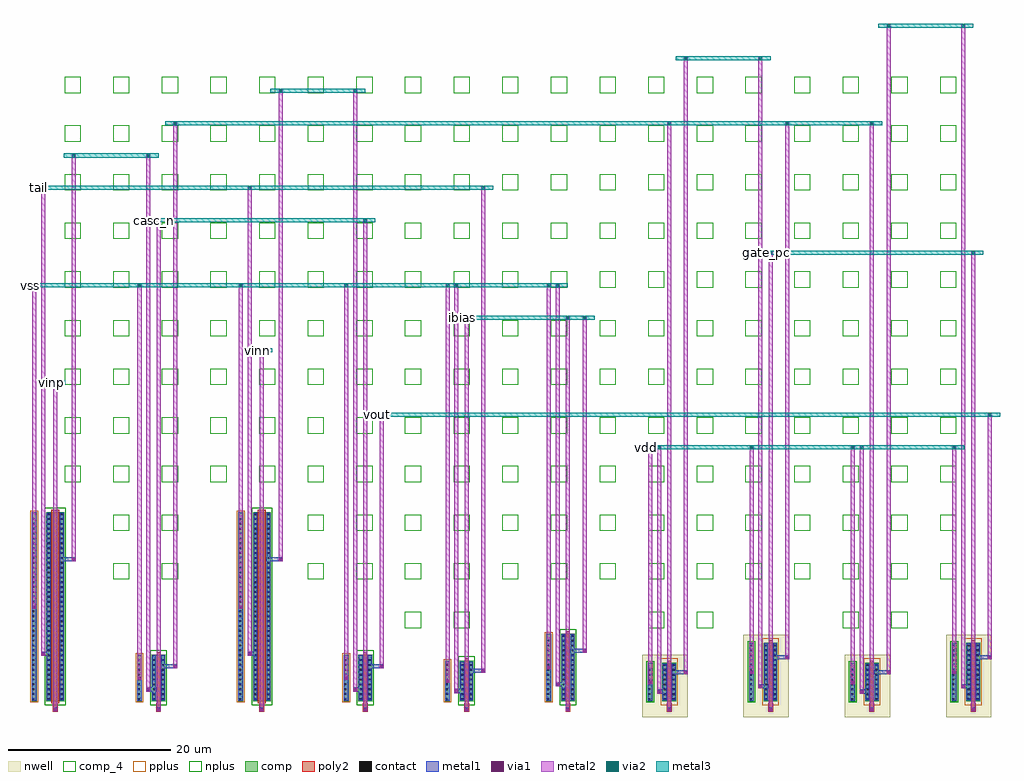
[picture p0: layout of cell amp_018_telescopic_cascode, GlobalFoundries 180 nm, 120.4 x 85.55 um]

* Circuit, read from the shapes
.subckt amp_018_telescopic_cascode casc_n gate_pc ibias tail vdd vinn vinp vout vss
XM1 n1 vinp tail vss nfet_03v3 w=23.3u l=1u
XM2 n2 casc_n n1 vss nfet_03v3 w=5.7u l=0.5u
XM3 n3 vinn tail vss nfet_03v3 w=23.3u l=1u
XM4 vout casc_n n3 vss nfet_03v3 w=5.7u l=0.5u
XM5 tail ibias vss vss nfet_03v3 w=4.95u l=0.5u
XM6 ibias ibias vss vss nfet_03v3 w=8.3u l=0.5u
XM7 n4 n2 vdd vdd pfet_03v3 w=4.7u l=0.5u
XM8 n2 gate_pc n4 vdd pfet_03v3 w=7.2u l=0.5u
XM9 n5 n2 vdd vdd pfet_03v3 w=4.7u l=0.5u
XM10 vout gate_pc n5 vdd pfet_03v3 w=7.2u l=0.5u
.ends

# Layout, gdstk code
import gdstk
lib = gdstk.Library(unit=1e-6, precision=1e-09)
def R(c, l, rs):  # rectangles x0, y0, x1, y1
    for r in rs: c.add(gdstk.rectangle(r[:2], r[2:], *l))
def A(c, l, x, y, w, h, nx, ny, dx, dy):  # array of equal rectangles
    R(c, l, [(x+i*dx, y+j*dy, x+i*dx+w, y+j*dy+h) for i in range(nx) for j in range(ny)])
nwell = (21, 0)
comp = (22, 0)
comp_4 = (22, 4)
poly2 = (30, 0)
pplus = (31, 0)
nplus = (32, 0)
contact = (33, 0)
metal1 = (34, 0)
via1 = (35, 0)
metal2 = (36, 0)
via2 = (38, 0)
metal3 = (42, 0)

amp_018_telescopic_casco = lib.new_cell('amp_018_telescopic_cascode')
R(amp_018_telescopic_casco, nwell, [(73.5,-2,79.1,5.7), (86,-2,91.6,8.2), (98.5,-2,104.1,5.7), (111,-2,116.6,8.2)])
R(amp_018_telescopic_casco, comp, [(-1.8,0,-1.2,23.3), (0,0,2.2,23.3), (11.2,0,11.8,5.7), (13,0,14.7,5.7), (23.7,0,24.3,23.3), (25.5,0,27.7,23.3), (36.7,0,37.3,5.7), (38.5,0,40.2,5.7), (49.2,0,49.8,4.95), (51,0,52.7,4.95), (61.7,0,62.3,8.3), (63.5,0,65.2,8.3), (74.2,0,74.8,4.7), (76,0,77.7,4.7), (86.7,0,87.3,7.2), (88.5,0,90.2,7.2), (99.2,0,99.8,4.7), (101,0,102.7,4.7), (111.7,0,112.3,7.2), (113.5,0,115.2,7.2)])
A(amp_018_telescopic_casco, comp_4, 32.25, 15, 2, 2, 14, 2, 6, 6)
A(amp_018_telescopic_casco, comp_4, 2.25, 27, 2, 2, 19, 9, 6, 6)
R(amp_018_telescopic_casco, comp_4, [(44.25,9,46.25,11), (50.25,9,52.25,11), (74.25,9,76.25,11), (80.25,9,82.25,11), (98.25,9,100.25,11), (104.25,9,106.25,11), (8.25,15,10.25,17), (14.25,15,16.25,17), (8.25,21,10.25,23), (14.25,21,16.25,23)])
A(amp_018_telescopic_casco, poly2, 0.8, -1.3, 0.6, 1.05, 4, 1, 12.75, 0)
A(amp_018_telescopic_casco, poly2, 51.55, -1.3, 0.6, 1.05, 6, 1, 12.5, 0)
R(amp_018_telescopic_casco, poly2, [(0.6,-0.3,1.6,23.6), (13.6,-0.3,14.1,6), (26.1,-0.3,27.1,23.6), (39.1,-0.3,39.6,6), (51.6,-0.3,52.1,5.25), (64.1,-0.3,64.6,8.6), (76.6,-0.3,77.1,5), (89.1,-0.3,89.6,7.5), (101.6,-0.3,102.1,5), (114.1,-0.3,114.6,7.5)])
R(amp_018_telescopic_casco, pplus, [(75.82,-0.55,77.88,5.25), (88.32,-0.55,90.38,7.75), (100.82,-0.55,102.88,5.25), (113.32,-0.55,115.38,7.75), (-1.98,-0.18,-1.02,23.48), (11.02,-0.18,11.98,5.88), (23.52,-0.18,24.48,23.48), (36.52,-0.18,37.48,5.88), (49.02,-0.18,49.98,5.13), (61.52,-0.18,62.48,8.48)])
R(amp_018_telescopic_casco, nplus, [(-0.18,-0.55,2.38,23.85), (12.82,-0.55,14.88,6.25), (25.32,-0.55,27.88,23.85), (38.32,-0.55,40.38,6.25), (50.82,-0.55,52.88,5.5), (63.32,-0.55,65.38,8.85), (74.02,-0.18,74.98,4.88), (86.52,-0.18,87.48,7.38), (99.02,-0.18,99.98,4.88), (111.52,-0.18,112.48,7.38)])
A(amp_018_telescopic_casco, contact, 0.99, -1.11, 0.22, 0.22, 4, 1, 12.75, 0)
A(amp_018_telescopic_casco, contact, 51.74, -1.11, 0.22, 0.22, 6, 1, 12.5, 0)
A(amp_018_telescopic_casco, contact, 0.19, 0.14, 0.22, 0.22, 1, 39, 0, 0.6)
A(amp_018_telescopic_casco, contact, 1.79, 0.14, 0.22, 0.22, 1, 39, 0, 0.6)
A(amp_018_telescopic_casco, contact, 13.19, 0.14, 0.22, 0.22, 1, 9, 0, 0.6)
A(amp_018_telescopic_casco, contact, 14.29, 0.14, 0.22, 0.22, 1, 9, 0, 0.6)
A(amp_018_telescopic_casco, contact, 25.69, 0.14, 0.22, 0.22, 1, 39, 0, 0.6)
A(amp_018_telescopic_casco, contact, 27.29, 0.14, 0.22, 0.22, 1, 39, 0, 0.6)
A(amp_018_telescopic_casco, contact, 38.69, 0.14, 0.22, 0.22, 1, 9, 0, 0.6)
A(amp_018_telescopic_casco, contact, 39.79, 0.14, 0.22, 0.22, 1, 9, 0, 0.6)
A(amp_018_telescopic_casco, contact, 51.19, 0.14, 0.22, 0.22, 1, 8, 0, 0.6)
A(amp_018_telescopic_casco, contact, 52.29, 0.14, 0.22, 0.22, 1, 8, 0, 0.6)
A(amp_018_telescopic_casco, contact, 63.69, 0.14, 0.22, 0.22, 1, 14, 0, 0.6)
A(amp_018_telescopic_casco, contact, 64.79, 0.14, 0.22, 0.22, 1, 14, 0, 0.6)
A(amp_018_telescopic_casco, contact, 76.19, 0.14, 0.22, 0.22, 1, 8, 0, 0.6)
A(amp_018_telescopic_casco, contact, 77.29, 0.14, 0.22, 0.22, 1, 8, 0, 0.6)
A(amp_018_telescopic_casco, contact, 88.69, 0.14, 0.22, 0.22, 1, 12, 0, 0.6)
A(amp_018_telescopic_casco, contact, 89.79, 0.14, 0.22, 0.22, 1, 12, 0, 0.6)
A(amp_018_telescopic_casco, contact, 101.19, 0.14, 0.22, 0.22, 1, 8, 0, 0.6)
A(amp_018_telescopic_casco, contact, 102.29, 0.14, 0.22, 0.22, 1, 8, 0, 0.6)
A(amp_018_telescopic_casco, contact, 113.69, 0.14, 0.22, 0.22, 1, 12, 0, 0.6)
A(amp_018_telescopic_casco, contact, 114.79, 0.14, 0.22, 0.22, 1, 12, 0, 0.6)
A(amp_018_telescopic_casco, contact, -1.69, 0.15, 0.22, 0.22, 1, 38, 0, 0.6)
A(amp_018_telescopic_casco, contact, 11.31, 0.15, 0.22, 0.22, 1, 9, 0, 0.6)
A(amp_018_telescopic_casco, contact, 23.81, 0.15, 0.22, 0.22, 1, 38, 0, 0.6)
A(amp_018_telescopic_casco, contact, 36.81, 0.15, 0.22, 0.22, 7, 7, 12.5, 0.6)
A(amp_018_telescopic_casco, contact, 36.81, 4.35, 0.22, 0.22, 3, 1, 12.5, 0)
A(amp_018_telescopic_casco, contact, 36.81, 4.95, 0.22, 0.22, 4, 1, 25, 0)
A(amp_018_telescopic_casco, contact, 61.81, 5.55, 0.22, 0.22, 3, 3, 25, 0.6)
R(amp_018_telescopic_casco, contact, [(86.81,4.35,87.03,4.57), (111.81,4.35,112.03,4.57), (61.81,7.35,62.03,7.57)])
R(amp_018_telescopic_casco, metal1, [(0.85,-1.25,1.35,-0.75), (0.85,-1.25,1.35,-0.75), (13.6,-1.25,14.1,-0.75), (13.6,-1.25,14.1,-0.75), (26.35,-1.25,26.85,-0.75), (26.35,-1.25,26.85,-0.75), (39.1,-1.25,39.6,-0.75), (39.1,-1.25,39.6,-0.75), (51.6,-1.25,52.1,-0.75), (51.6,-1.25,52.1,-0.75), (64.1,-1.25,64.6,-0.75), (64.1,-1.25,64.6,-0.75), (76.6,-1.25,77.1,-0.75), (76.6,-1.25,77.1,-0.75), (89.1,-1.25,89.6,-0.75), (89.1,-1.25,89.6,-0.75), (101.6,-1.25,102.1,-0.75), (101.6,-1.25,102.1,-0.75), (114.1,-1.25,114.6,-0.75), (114.1,-1.25,114.6,-0.75), (-1.75,0.05,-1.25,23.25), (11.25,0.05,11.75,5.65), (23.75,0.05,24.25,23.25), (36.75,0.05,37.25,5.65), (49.25,0.05,49.75,4.9), (61.75,0.05,62.25,8.25), (74.25,0.05,74.75,4.65), (86.75,0.05,87.25,7.15), (99.25,0.05,99.75,4.65), (111.75,0.05,112.25,7.15), (0.07,0.08,0.53,23.22), (1.67,0.08,2.13,23.22), (13.07,0.08,13.53,5.62), (14.17,0.08,14.63,5.62), (25.57,0.08,26.03,23.22), (27.17,0.08,27.63,23.22), (38.57,0.08,39.03,5.62), (39.67,0.08,40.13,5.62), (51.07,0.08,51.53,4.87), (52.17,0.08,52.63,4.87), (63.57,0.08,64.03,8.22), (64.67,0.08,65.13,8.22), (76.07,0.08,76.53,4.62), (77.17,0.08,77.63,4.62), (88.57,0.08,89.03,7.12), (89.67,0.08,90.13,7.12), (101.07,0.08,101.53,4.62), (102.17,0.08,102.63,4.62), (113.57,0.08,114.03,7.12), (114.67,0.08,115.13,7.12), (-1.81,0.09,-1.35,23.21), (11.19,0.09,11.65,5.61), (23.69,0.09,24.15,23.21), (36.69,0.09,37.15,5.61), (49.19,0.09,49.65,4.86), (61.69,0.09,62.15,8.21), (74.19,0.09,74.65,4.61), (86.69,0.09,87.15,7.11), (99.19,0.09,99.65,4.61), (111.69,0.09,112.15,7.11), (75.35,0.925,75.85,1.425), (100.35,0.925,100.85,1.425), (50.35,0.99,50.85,1.49), (12.35,1.175,12.85,1.675), (37.85,1.175,38.35,1.675), (87.85,1.55,88.35,2.05), (112.85,1.55,113.35,2.05), (62.85,1.825,63.35,2.325), (74.25,2.1,74.75,2.6), (99.25,2.1,99.75,2.6), (49.25,2.225,49.75,2.725), (11.25,2.6,11.75,3.1), (36.75,2.6,37.25,3.1), (78.65,3.275,79.15,3.775), (103.65,3.275,104.15,3.775), (86.75,3.35,87.25,3.85), (111.75,3.35,112.25,3.85), (53.65,3.46,54.15,3.96), (61.75,3.9,62.25,4.4), (15.65,4.025,16.15,4.525), (41.15,4.025,41.65,4.525), (91.15,5.15,91.65,5.65), (116.15,5.15,116.65,5.65), (-0.65,5.575,-0.15,6.075), (24.85,5.575,25.35,6.075), (66.15,5.975,66.65,6.475), (-1.75,11.4,-1.25,11.9), (23.75,11.4,24.25,11.9), (3.15,17.225,3.65,17.725), (28.65,17.225,29.15,17.725)])
A(amp_018_telescopic_casco, via1, 0.97, -1.13, 0.26, 0.26, 4, 1, 12.75, 0)
A(amp_018_telescopic_casco, via1, 51.72, -1.13, 0.26, 0.26, 6, 1, 12.5, 0)
R(amp_018_telescopic_casco, via1, [(75.47,1.045,75.73,1.305), (100.47,1.045,100.73,1.305), (50.47,1.11,50.73,1.37), (12.47,1.295,12.73,1.555), (37.97,1.295,38.23,1.555), (87.97,1.67,88.23,1.93), (112.97,1.67,113.23,1.93), (62.97,1.945,63.23,2.205), (74.37,2.22,74.63,2.48), (99.37,2.22,99.63,2.48), (49.37,2.345,49.63,2.605), (11.37,2.72,11.63,2.98), (36.87,2.72,37.13,2.98), (78.77,3.395,79.03,3.655), (103.77,3.395,104.03,3.655), (86.87,3.47,87.13,3.73), (111.87,3.47,112.13,3.73), (53.77,3.58,54.03,3.84), (61.87,4.02,62.13,4.28), (15.77,4.145,16.03,4.405), (41.27,4.145,41.53,4.405), (91.27,5.27,91.53,5.53), (116.27,5.27,116.53,5.53), (-0.53,5.695,-0.27,5.955), (24.97,5.695,25.23,5.955), (66.27,6.095,66.53,6.355), (-1.63,11.52,-1.37,11.78), (23.87,11.52,24.13,11.78), (3.27,17.345,3.53,17.605), (28.77,17.345,29.03,17.605)])
A(amp_018_telescopic_casco, metal2, 0.85, -1.25, 0.5, 0.5, 4, 1, 12.75, 0)
A(amp_018_telescopic_casco, metal2, 51.6, -1.25, 0.5, 0.5, 6, 1, 12.5, 0)
R(amp_018_telescopic_casco, metal2, [(75.35,0.925,75.85,1.425), (100.35,0.925,100.85,1.425), (50.35,0.99,50.85,1.49), (12.35,1.175,12.85,1.675), (37.85,1.175,38.35,1.675), (87.85,1.55,88.35,2.05), (112.85,1.55,113.35,2.05), (62.85,1.825,63.35,2.325), (74.25,2.1,74.75,2.6), (99.25,2.1,99.75,2.6), (49.25,2.225,49.75,2.725), (11.25,2.6,11.75,3.1), (36.75,2.6,37.25,3.1), (78.65,3.275,79.15,3.775), (103.65,3.275,104.15,3.775), (86.75,3.35,87.25,3.85), (111.75,3.35,112.25,3.85), (53.65,3.46,54.15,3.96), (61.75,3.9,62.25,4.4), (15.65,4.025,16.15,4.525), (41.15,4.025,41.65,4.525), (91.15,5.15,91.65,5.65), (116.15,5.15,116.65,5.65), (-0.65,5.575,-0.15,6.075), (24.85,5.575,25.35,6.075), (66.15,5.975,66.65,6.475), (-1.75,11.4,-1.25,11.9), (23.75,11.4,24.25,11.9), (3.15,17.225,3.65,17.725), (28.65,17.225,29.15,17.725), (74.25,31.05,74.75,31.55), (75.35,31.05,75.85,31.55), (86.75,31.05,87.25,31.55), (99.25,31.05,99.75,31.55), (100.35,31.05,100.85,31.55), (111.75,31.05,112.25,31.55), (41.15,35.05,41.65,35.55), (116.15,35.05,116.65,35.55), (0.85,39.05,1.35,39.55), (26.35,43.05,26.85,43.55), (51.6,47.05,52.1,47.55), (64.1,47.05,64.6,47.55), (66.15,47.05,66.65,47.55), (-1.75,51.05,-1.25,51.55), (11.25,51.05,11.75,51.55), (23.75,51.05,24.25,51.55), (36.75,51.05,37.25,51.55), (49.25,51.05,49.75,51.55), (50.35,51.05,50.85,51.55), (61.75,51.05,62.25,51.55), (62.85,51.05,63.35,51.55), (89.1,55.05,89.6,55.55), (114.1,55.05,114.6,55.55), (13.6,59.05,14.1,59.55), (39.1,59.05,39.6,59.55), (-0.65,63.05,-0.15,63.55), (24.85,63.05,25.35,63.55), (53.65,63.05,54.15,63.55), (3.15,67.05,3.65,67.55), (12.35,67.05,12.85,67.55), (15.65,71.05,16.15,71.55), (76.6,71.05,77.1,71.55), (91.15,71.05,91.65,71.55), (101.6,71.05,102.1,71.55), (28.65,75.05,29.15,75.55), (37.85,75.05,38.35,75.55), (78.65,79.05,79.15,79.55), (87.85,79.05,88.35,79.55), (103.65,83.05,104.15,83.55), (112.85,83.05,113.35,83.55)])
R(amp_018_telescopic_casco, via2, [(74.37,31.17,74.63,31.43), (75.47,31.17,75.73,31.43), (86.87,31.17,87.13,31.43), (99.37,31.17,99.63,31.43), (100.47,31.17,100.73,31.43), (111.87,31.17,112.13,31.43), (41.27,35.17,41.53,35.43), (116.27,35.17,116.53,35.43), (0.97,39.17,1.23,39.43), (26.47,43.17,26.73,43.43), (51.72,47.17,51.98,47.43), (64.22,47.17,64.48,47.43), (66.27,47.17,66.53,47.43), (-1.63,51.17,-1.37,51.43), (11.37,51.17,11.63,51.43), (23.87,51.17,24.13,51.43), (36.87,51.17,37.13,51.43), (49.37,51.17,49.63,51.43), (50.47,51.17,50.73,51.43), (61.87,51.17,62.13,51.43), (62.97,51.17,63.23,51.43), (89.22,55.17,89.48,55.43), (114.22,55.17,114.48,55.43), (13.72,59.17,13.98,59.43), (39.22,59.17,39.48,59.43), (-0.53,63.17,-0.27,63.43), (24.97,63.17,25.23,63.43), (53.77,63.17,54.03,63.43), (3.27,67.17,3.53,67.43), (12.47,67.17,12.73,67.43), (15.77,71.17,16.03,71.43), (76.72,71.17,76.98,71.43), (91.27,71.17,91.53,71.43), (101.72,71.17,101.98,71.43), (28.77,75.17,29.03,75.43), (37.97,75.17,38.23,75.43), (78.77,79.17,79.03,79.43), (87.97,79.17,88.23,79.43), (103.77,83.17,104.03,83.43), (112.97,83.17,113.23,83.43)])
R(amp_018_telescopic_casco, metal3, [(74.25,31.05,74.75,31.55), (75.35,31.05,75.85,31.55), (86.75,31.05,87.25,31.55), (99.25,31.05,99.75,31.55), (100.35,31.05,100.85,31.55), (111.75,31.05,112.25,31.55), (41.15,35.05,41.65,35.55), (116.15,35.05,116.65,35.55), (0.85,39.05,1.35,39.55), (26.35,43.05,26.85,43.55), (51.6,47.05,52.1,47.55), (64.1,47.05,64.6,47.55), (66.15,47.05,66.65,47.55), (-1.75,51.05,-1.25,51.55), (11.25,51.05,11.75,51.55), (23.75,51.05,24.25,51.55), (36.75,51.05,37.25,51.55), (49.25,51.05,49.75,51.55), (50.35,51.05,50.85,51.55), (61.75,51.05,62.25,51.55), (62.85,51.05,63.35,51.55), (89.1,55.05,89.6,55.55), (114.1,55.05,114.6,55.55), (13.6,59.05,14.1,59.55), (39.1,59.05,39.6,59.55), (-0.65,63.05,-0.15,63.55), (24.85,63.05,25.35,63.55), (53.65,63.05,54.15,63.55), (3.15,67.05,3.65,67.55), (12.35,67.05,12.85,67.55), (15.65,71.05,16.15,71.55), (76.6,71.05,77.1,71.55), (91.15,71.05,91.65,71.55), (101.6,71.05,102.1,71.55), (28.65,75.05,29.15,75.55), (37.85,75.05,38.35,75.55), (78.65,79.05,79.15,79.55), (87.85,79.05,88.35,79.55), (103.65,83.05,104.15,83.55), (112.85,83.05,113.35,83.55)])
amp_018_telescopic_casco.add(gdstk.FlexPath([(0.3,5.825),(-0.4,5.825)], 0.5, ends="extended", simple_path=True, layer=34, datatype=0))  # metal1
amp_018_telescopic_casco.add(gdstk.FlexPath([(1.9,17.475),(3.4,17.475)], 0.5, ends="extended", simple_path=True, layer=34, datatype=0))  # metal1
amp_018_telescopic_casco.add(gdstk.FlexPath([(13.3,1.425),(12.6,1.425)], 0.5, ends="extended", simple_path=True, layer=34, datatype=0))  # metal1
amp_018_telescopic_casco.add(gdstk.FlexPath([(14.4,4.275),(15.9,4.275)], 0.5, ends="extended", simple_path=True, layer=34, datatype=0))  # metal1
amp_018_telescopic_casco.add(gdstk.FlexPath([(25.8,5.825),(25.1,5.825)], 0.5, ends="extended", simple_path=True, layer=34, datatype=0))  # metal1
amp_018_telescopic_casco.add(gdstk.FlexPath([(27.4,17.475),(28.9,17.475)], 0.5, ends="extended", simple_path=True, layer=34, datatype=0))  # metal1
amp_018_telescopic_casco.add(gdstk.FlexPath([(38.8,1.425),(38.1,1.425)], 0.5, ends="extended", simple_path=True, layer=34, datatype=0))  # metal1
amp_018_telescopic_casco.add(gdstk.FlexPath([(39.9,4.275),(41.4,4.275)], 0.5, ends="extended", simple_path=True, layer=34, datatype=0))  # metal1
amp_018_telescopic_casco.add(gdstk.FlexPath([(51.3,1.24),(50.6,1.24)], 0.5, ends="extended", simple_path=True, layer=34, datatype=0))  # metal1
amp_018_telescopic_casco.add(gdstk.FlexPath([(52.4,3.71),(53.9,3.71)], 0.5, ends="extended", simple_path=True, layer=34, datatype=0))  # metal1
amp_018_telescopic_casco.add(gdstk.FlexPath([(63.8,2.075),(63.1,2.075)], 0.5, ends="extended", simple_path=True, layer=34, datatype=0))  # metal1
amp_018_telescopic_casco.add(gdstk.FlexPath([(64.9,6.225),(66.4,6.225)], 0.5, ends="extended", simple_path=True, layer=34, datatype=0))  # metal1
amp_018_telescopic_casco.add(gdstk.FlexPath([(76.3,1.175),(75.6,1.175)], 0.5, ends="extended", simple_path=True, layer=34, datatype=0))  # metal1
amp_018_telescopic_casco.add(gdstk.FlexPath([(77.4,3.525),(78.9,3.525)], 0.5, ends="extended", simple_path=True, layer=34, datatype=0))  # metal1
amp_018_telescopic_casco.add(gdstk.FlexPath([(88.8,1.8),(88.1,1.8)], 0.5, ends="extended", simple_path=True, layer=34, datatype=0))  # metal1
amp_018_telescopic_casco.add(gdstk.FlexPath([(89.9,5.4),(91.4,5.4)], 0.5, ends="extended", simple_path=True, layer=34, datatype=0))  # metal1
amp_018_telescopic_casco.add(gdstk.FlexPath([(101.3,1.175),(100.6,1.175)], 0.5, ends="extended", simple_path=True, layer=34, datatype=0))  # metal1
amp_018_telescopic_casco.add(gdstk.FlexPath([(102.4,3.525),(103.9,3.525)], 0.5, ends="extended", simple_path=True, layer=34, datatype=0))  # metal1
amp_018_telescopic_casco.add(gdstk.FlexPath([(113.8,1.8),(113.1,1.8)], 0.5, ends="extended", simple_path=True, layer=34, datatype=0))  # metal1
amp_018_telescopic_casco.add(gdstk.FlexPath([(114.9,5.4),(116.4,5.4)], 0.5, ends="extended", simple_path=True, layer=34, datatype=0))  # metal1
amp_018_telescopic_casco.add(gdstk.FlexPath([(73.5,31.3),(113,31.3)], 0.5, ends="extended", simple_path=True, layer=42, datatype=0))  # metal3
amp_018_telescopic_casco.add(gdstk.FlexPath([(40.4,35.3),(117.4,35.3)], 0.5, ends="extended", simple_path=True, layer=42, datatype=0))  # metal3
amp_018_telescopic_casco.add(gdstk.FlexPath([(0.1,39.3),(2.1,39.3)], 0.5, ends="extended", simple_path=True, layer=42, datatype=0))  # metal3
amp_018_telescopic_casco.add(gdstk.FlexPath([(25.6,43.3),(27.6,43.3)], 0.5, ends="extended", simple_path=True, layer=42, datatype=0))  # metal3
amp_018_telescopic_casco.add(gdstk.FlexPath([(50.85,47.3),(67.4,47.3)], 0.5, ends="extended", simple_path=True, layer=42, datatype=0))  # metal3
amp_018_telescopic_casco.add(gdstk.FlexPath([(-2.5,51.3),(64.1,51.3)], 0.5, ends="extended", simple_path=True, layer=42, datatype=0))  # metal3
amp_018_telescopic_casco.add(gdstk.FlexPath([(88.35,55.3),(115.35,55.3)], 0.5, ends="extended", simple_path=True, layer=42, datatype=0))  # metal3
amp_018_telescopic_casco.add(gdstk.FlexPath([(12.85,59.3),(40.35,59.3)], 0.5, ends="extended", simple_path=True, layer=42, datatype=0))  # metal3
amp_018_telescopic_casco.add(gdstk.FlexPath([(-1.4,63.3),(54.9,63.3)], 0.5, ends="extended", simple_path=True, layer=42, datatype=0))  # metal3
amp_018_telescopic_casco.add(gdstk.FlexPath([(2.4,67.3),(13.6,67.3)], 0.5, ends="extended", simple_path=True, layer=42, datatype=0))  # metal3
amp_018_telescopic_casco.add(gdstk.FlexPath([(14.9,71.3),(102.85,71.3)], 0.5, ends="extended", simple_path=True, layer=42, datatype=0))  # metal3
amp_018_telescopic_casco.add(gdstk.FlexPath([(27.9,75.3),(39.1,75.3)], 0.5, ends="extended", simple_path=True, layer=42, datatype=0))  # metal3
amp_018_telescopic_casco.add(gdstk.FlexPath([(77.9,79.3),(89.1,79.3)], 0.5, ends="extended", simple_path=True, layer=42, datatype=0))  # metal3
amp_018_telescopic_casco.add(gdstk.FlexPath([(102.9,83.3),(114.1,83.3)], 0.5, ends="extended", simple_path=True, layer=42, datatype=0))  # metal3
amp_018_telescopic_casco.add(gdstk.FlexPath([(75.6,1.175),(75.6,31.3)], 0.5, ends="extended", simple_path=True, layer=36, datatype=0))  # metal2
amp_018_telescopic_casco.add(gdstk.FlexPath([(74.5,2.35),(74.5,31.3)], 0.5, ends="extended", simple_path=True, layer=36, datatype=0))  # metal2
amp_018_telescopic_casco.add(gdstk.FlexPath([(87,3.6),(87,31.3)], 0.5, ends="extended", simple_path=True, layer=36, datatype=0))  # metal2
amp_018_telescopic_casco.add(gdstk.FlexPath([(100.6,1.175),(100.6,31.3)], 0.5, ends="extended", simple_path=True, layer=36, datatype=0))  # metal2
amp_018_telescopic_casco.add(gdstk.FlexPath([(99.5,2.35),(99.5,31.3)], 0.5, ends="extended", simple_path=True, layer=36, datatype=0))  # metal2
amp_018_telescopic_casco.add(gdstk.FlexPath([(112,3.6),(112,31.3)], 0.5, ends="extended", simple_path=True, layer=36, datatype=0))  # metal2
amp_018_telescopic_casco.add(gdstk.FlexPath([(41.4,4.275),(41.4,35.3)], 0.5, ends="extended", simple_path=True, layer=36, datatype=0))  # metal2
amp_018_telescopic_casco.add(gdstk.FlexPath([(116.4,5.4),(116.4,35.3)], 0.5, ends="extended", simple_path=True, layer=36, datatype=0))  # metal2
amp_018_telescopic_casco.add(gdstk.FlexPath([(1.1,-1),(1.1,39.3)], 0.5, ends="extended", simple_path=True, layer=36, datatype=0))  # metal2
amp_018_telescopic_casco.add(gdstk.FlexPath([(26.6,-1),(26.6,43.3)], 0.5, ends="extended", simple_path=True, layer=36, datatype=0))  # metal2
amp_018_telescopic_casco.add(gdstk.FlexPath([(51.85,-1),(51.85,47.3)], 0.5, ends="extended", simple_path=True, layer=36, datatype=0))  # metal2
amp_018_telescopic_casco.add(gdstk.FlexPath([(66.4,6.225),(66.4,47.3)], 0.5, ends="extended", simple_path=True, layer=36, datatype=0))  # metal2
amp_018_telescopic_casco.add(gdstk.FlexPath([(64.35,-1),(64.35,47.3)], 0.5, ends="extended", simple_path=True, layer=36, datatype=0))  # metal2
amp_018_telescopic_casco.add(gdstk.FlexPath([(-1.5,11.65),(-1.5,51.3)], 0.5, ends="extended", simple_path=True, layer=36, datatype=0))  # metal2
amp_018_telescopic_casco.add(gdstk.FlexPath([(11.5,2.85),(11.5,51.3)], 0.5, ends="extended", simple_path=True, layer=36, datatype=0))  # metal2
amp_018_telescopic_casco.add(gdstk.FlexPath([(24,11.65),(24,51.3)], 0.5, ends="extended", simple_path=True, layer=36, datatype=0))  # metal2
amp_018_telescopic_casco.add(gdstk.FlexPath([(37,2.85),(37,51.3)], 0.5, ends="extended", simple_path=True, layer=36, datatype=0))  # metal2
amp_018_telescopic_casco.add(gdstk.FlexPath([(50.6,1.24),(50.6,51.3)], 0.5, ends="extended", simple_path=True, layer=36, datatype=0))  # metal2
amp_018_telescopic_casco.add(gdstk.FlexPath([(49.5,2.475),(49.5,51.3)], 0.5, ends="extended", simple_path=True, layer=36, datatype=0))  # metal2
amp_018_telescopic_casco.add(gdstk.FlexPath([(63.1,2.075),(63.1,51.3)], 0.5, ends="extended", simple_path=True, layer=36, datatype=0))  # metal2
amp_018_telescopic_casco.add(gdstk.FlexPath([(62,4.15),(62,51.3)], 0.5, ends="extended", simple_path=True, layer=36, datatype=0))  # metal2
amp_018_telescopic_casco.add(gdstk.FlexPath([(89.35,-1),(89.35,55.3)], 0.5, ends="extended", simple_path=True, layer=36, datatype=0))  # metal2
amp_018_telescopic_casco.add(gdstk.FlexPath([(114.35,-1),(114.35,55.3)], 0.5, ends="extended", simple_path=True, layer=36, datatype=0))  # metal2
amp_018_telescopic_casco.add(gdstk.FlexPath([(13.85,-1),(13.85,59.3)], 0.5, ends="extended", simple_path=True, layer=36, datatype=0))  # metal2
amp_018_telescopic_casco.add(gdstk.FlexPath([(39.35,-1),(39.35,59.3)], 0.5, ends="extended", simple_path=True, layer=36, datatype=0))  # metal2
amp_018_telescopic_casco.add(gdstk.FlexPath([(-0.4,5.825),(-0.4,63.3)], 0.5, ends="extended", simple_path=True, layer=36, datatype=0))  # metal2
amp_018_telescopic_casco.add(gdstk.FlexPath([(25.1,5.825),(25.1,63.3)], 0.5, ends="extended", simple_path=True, layer=36, datatype=0))  # metal2
amp_018_telescopic_casco.add(gdstk.FlexPath([(53.9,3.71),(53.9,63.3)], 0.5, ends="extended", simple_path=True, layer=36, datatype=0))  # metal2
amp_018_telescopic_casco.add(gdstk.FlexPath([(3.4,17.475),(3.4,67.3)], 0.5, ends="extended", simple_path=True, layer=36, datatype=0))  # metal2
amp_018_telescopic_casco.add(gdstk.FlexPath([(12.6,1.425),(12.6,67.3)], 0.5, ends="extended", simple_path=True, layer=36, datatype=0))  # metal2
amp_018_telescopic_casco.add(gdstk.FlexPath([(15.9,4.275),(15.9,71.3)], 0.5, ends="extended", simple_path=True, layer=36, datatype=0))  # metal2
amp_018_telescopic_casco.add(gdstk.FlexPath([(76.85,-1),(76.85,71.3)], 0.5, ends="extended", simple_path=True, layer=36, datatype=0))  # metal2
amp_018_telescopic_casco.add(gdstk.FlexPath([(91.4,5.4),(91.4,71.3)], 0.5, ends="extended", simple_path=True, layer=36, datatype=0))  # metal2
amp_018_telescopic_casco.add(gdstk.FlexPath([(101.85,-1),(101.85,71.3)], 0.5, ends="extended", simple_path=True, layer=36, datatype=0))  # metal2
amp_018_telescopic_casco.add(gdstk.FlexPath([(28.9,17.475),(28.9,75.3)], 0.5, ends="extended", simple_path=True, layer=36, datatype=0))  # metal2
amp_018_telescopic_casco.add(gdstk.FlexPath([(38.1,1.425),(38.1,75.3)], 0.5, ends="extended", simple_path=True, layer=36, datatype=0))  # metal2
amp_018_telescopic_casco.add(gdstk.FlexPath([(78.9,3.525),(78.9,79.3)], 0.5, ends="extended", simple_path=True, layer=36, datatype=0))  # metal2
amp_018_telescopic_casco.add(gdstk.FlexPath([(88.1,1.8),(88.1,79.3)], 0.5, ends="extended", simple_path=True, layer=36, datatype=0))  # metal2
amp_018_telescopic_casco.add(gdstk.FlexPath([(103.9,3.525),(103.9,83.3)], 0.5, ends="extended", simple_path=True, layer=36, datatype=0))  # metal2
amp_018_telescopic_casco.add(gdstk.FlexPath([(113.1,1.8),(113.1,83.3)], 0.5, ends="extended", simple_path=True, layer=36, datatype=0))  # metal2
amp_018_telescopic_casco.add(gdstk.Label('vdd', (74,31.3), layer=42, texttype=10))
amp_018_telescopic_casco.add(gdstk.Label('vout', (40.9,35.3), layer=42, texttype=10))
amp_018_telescopic_casco.add(gdstk.Label('vinp', (0.6,39.3), layer=42, texttype=10))
amp_018_telescopic_casco.add(gdstk.Label('vinn', (26.1,43.3), layer=42, texttype=10))
amp_018_telescopic_casco.add(gdstk.Label('ibias', (51.35,47.3), layer=42, texttype=10))
amp_018_telescopic_casco.add(gdstk.Label('vss', (-2,51.3), layer=42, texttype=10))
amp_018_telescopic_casco.add(gdstk.Label('gate_pc', (88.85,55.3), layer=42, texttype=10))
amp_018_telescopic_casco.add(gdstk.Label('casc_n', (13.35,59.3), layer=42, texttype=10))
amp_018_telescopic_casco.add(gdstk.Label('tail', (-0.9,63.3), layer=42, texttype=10))

lib.write_gds('amp_018_telescopic_cascode.gds')
